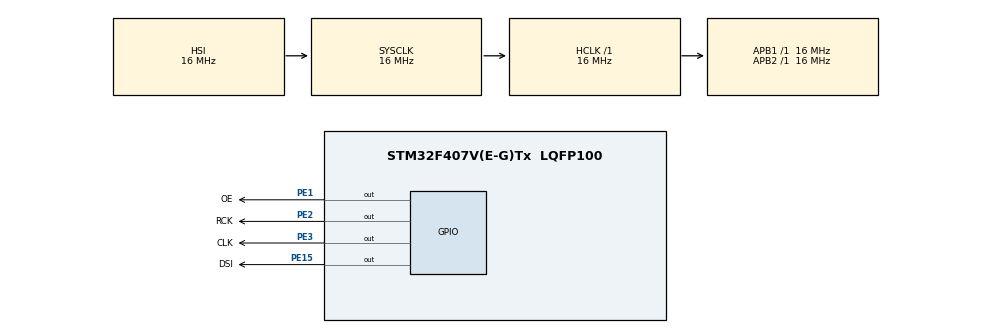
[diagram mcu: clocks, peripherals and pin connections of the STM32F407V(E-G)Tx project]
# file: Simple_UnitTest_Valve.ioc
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Mcu.Family=STM32F4
Mcu.Name=STM32F407V(E-G)Tx
Mcu.Package=LQFP100
NVIC.PriorityGroup=NVIC_PRIORITYGROUP_4
PA13.Mode=Serial_Wire
PA13.Signal=SYS_JTMS-SWDIO
PA14.Mode=Serial_Wire
PA14.Signal=SYS_JTCK-SWCLK
PE1.GPIO_Label=OE
PE1.Signal=GPIO_Output
PE15.GPIO_Label=DSI
PE15.Signal=GPIO_Output
PE2.GPIO_Label=RCK
PE2.Signal=GPIO_Output
PE3.GPIO_Label=CLK
PE3.Signal=GPIO_Output
ProjectManager.HeapSize=0x200
ProjectManager.StackSize=0x400
ProjectManager.TargetToolchain=STM32CubeIDE
RCC.AHBFreq_Value=16000000
RCC.APB1Freq_Value=16000000
RCC.APB2Freq_Value=16000000
RCC.CortexFreq_Value=16000000
RCC.HSE_VALUE=25000000
RCC.HSI_VALUE=16000000
RCC.LSE_VALUE=32768
RCC.SYSCLKFreq_VALUE=16000000
RCC.VCOOutputFreq_Value=192000000
board=custom

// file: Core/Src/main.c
/* USER CODE BEGIN Header */
/**
  ******************************************************************************
  * @file           : main.c
  * @brief          : Main program body
  ******************************************************************************
  * @attention
  *
  * Copyright (c) 2023 STMicroelectronics.
  * All rights reserved.
  *
  * This software is licensed under terms that can be found in the LICENSE file
  * in the root directory of this software component.
  * If no LICENSE file comes with this software, it is provided AS-IS.
  *
  ******************************************************************************
  */
/* USER CODE END Header */
#include "main.h"

/* USER CODE BEGIN PV */

HC595 hc595;
uint16_t value, pre_value;
uint8_t boardQuantity;

uint8_t mode;

/* USER CODE END PV */

void SystemClock_Config(void);
static void MX_GPIO_Init(void);

/* USER CODE BEGIN 0 */

/* ------------------Begin: Config HC595--------------------------------------*/

void hc595_SetUp()
{
	HC595* p595 = (HC595*)&hc595;
	HC595_AssignPin(p595, CLK_GPIO_Port, CLK_Pin, HC595_CLK);
	HC595_AssignPin(p595, DSI_GPIO_Port, DSI_Pin, HC595_DS);
	HC595_AssignPin(p595, RCK_GPIO_Port, RCK_Pin, HC595_LATCH);
	HC595_AssignPin(p595, OE_GPIO_Port, OE_Pin, HC595_OE);
	HC595_SetTarget(p595);

	HC595_ClearByteOutput(0xffffffff);
	HC595_ShiftOut(NULL, 2, 1);
	HC595_EnableOutput();
}

/* ------------------End: Config HC595----------------------------------------*/

/* USER CODE END 0 */

int main(void)
{

  /* MCU Configuration--------------------------------------------------------*/

  /* Reset of all peripherals, Initializes the Flash interface and the Systick. */
  HAL_Init();

  /* Configure the system clock */
  SystemClock_Config();

  /* Initialize all configured peripherals */
  MX_GPIO_Init();

  /* Infinite loop */
  /* USER CODE BEGIN WHILE */
  while (1)
  {
	if(value != pre_value){
	  // set the buffer to 0x00
	  HC595_ClearByteOutput(0xffffffff);
	  HC595_ShiftOut(NULL, boardQuantity, mode);
	  HAL_Delay(200);

	  /* Calculating the Valve value on https://robocon.assfa.net/valve */
 	  // set value for turning on the valve(s) - default value type is hexdecimal
 	  HC595_SetByteOutput((uint32_t)value);
  	  HC595_ShiftOut(NULL, boardQuantity, mode);

  	  pre_value = value;
	}
    /* USER CODE END WHILE */

  }
}

void SystemClock_Config(void)
{
  RCC_OscInitTypeDef RCC_OscInitStruct = {0};
  RCC_ClkInitTypeDef RCC_ClkInitStruct = {0};

  /** Configure the main internal regulator output voltage
  */
  __HAL_RCC_PWR_CLK_ENABLE();
  __HAL_PWR_VOLTAGESCALING_CONFIG(PWR_REGULATOR_VOLTAGE_SCALE1);

  /** Initializes the RCC Oscillators according to the specified parameters
  * in the RCC_OscInitTypeDef structure.
  */
  RCC_OscInitStruct.OscillatorType = RCC_OSCILLATORTYPE_HSI;
  RCC_OscInitStruct.HSIState = RCC_HSI_ON;
  RCC_OscInitStruct.HSICalibrationValue = RCC_HSICALIBRATION_DEFAULT;
  RCC_OscInitStruct.PLL.PLLState = RCC_PLL_NONE;
  if (HAL_RCC_OscConfig(&RCC_OscInitStruct) != HAL_OK)
  {
    Error_Handler();
  }

  /** Initializes the CPU, AHB and APB buses clocks
  */
  RCC_ClkInitStruct.ClockType = RCC_CLOCKTYPE_HCLK|RCC_CLOCKTYPE_SYSCLK
                              |RCC_CLOCKTYPE_PCLK1|RCC_CLOCKTYPE_PCLK2;
  RCC_ClkInitStruct.SYSCLKSource = RCC_SYSCLKSOURCE_HSI;
  RCC_ClkInitStruct.AHBCLKDivider = RCC_SYSCLK_DIV1;
  RCC_ClkInitStruct.APB1CLKDivider = RCC_HCLK_DIV1;
  RCC_ClkInitStruct.APB2CLKDivider = RCC_HCLK_DIV1;

  if (HAL_RCC_ClockConfig(&RCC_ClkInitStruct, FLASH_LATENCY_0) != HAL_OK)
  {
    Error_Handler();
  }
}

static void MX_GPIO_Init(void)
{
  GPIO_InitTypeDef GPIO_InitStruct = {0};

  /* GPIO Ports Clock Enable */
  __HAL_RCC_GPIOE_CLK_ENABLE();
  __HAL_RCC_GPIOA_CLK_ENABLE();

  /*Configure GPIO pin Output Level */
  HAL_GPIO_WritePin(GPIOE, RCK_Pin|CLK_Pin|DSI_Pin|OE_Pin, GPIO_PIN_RESET);

  /*Configure GPIO pins : RCK_Pin CLK_Pin DSI_Pin OE_Pin */
  GPIO_InitStruct.Pin = RCK_Pin|CLK_Pin|DSI_Pin|OE_Pin;
  GPIO_InitStruct.Mode = GPIO_MODE_OUTPUT_PP;
  GPIO_InitStruct.Pull = GPIO_NOPULL;
  GPIO_InitStruct.Speed = GPIO_SPEED_FREQ_LOW;
  HAL_GPIO_Init(GPIOE, &GPIO_InitStruct);

}

void Error_Handler(void)
{
  __disable_irq();
  while (1)
  {
  }
}
